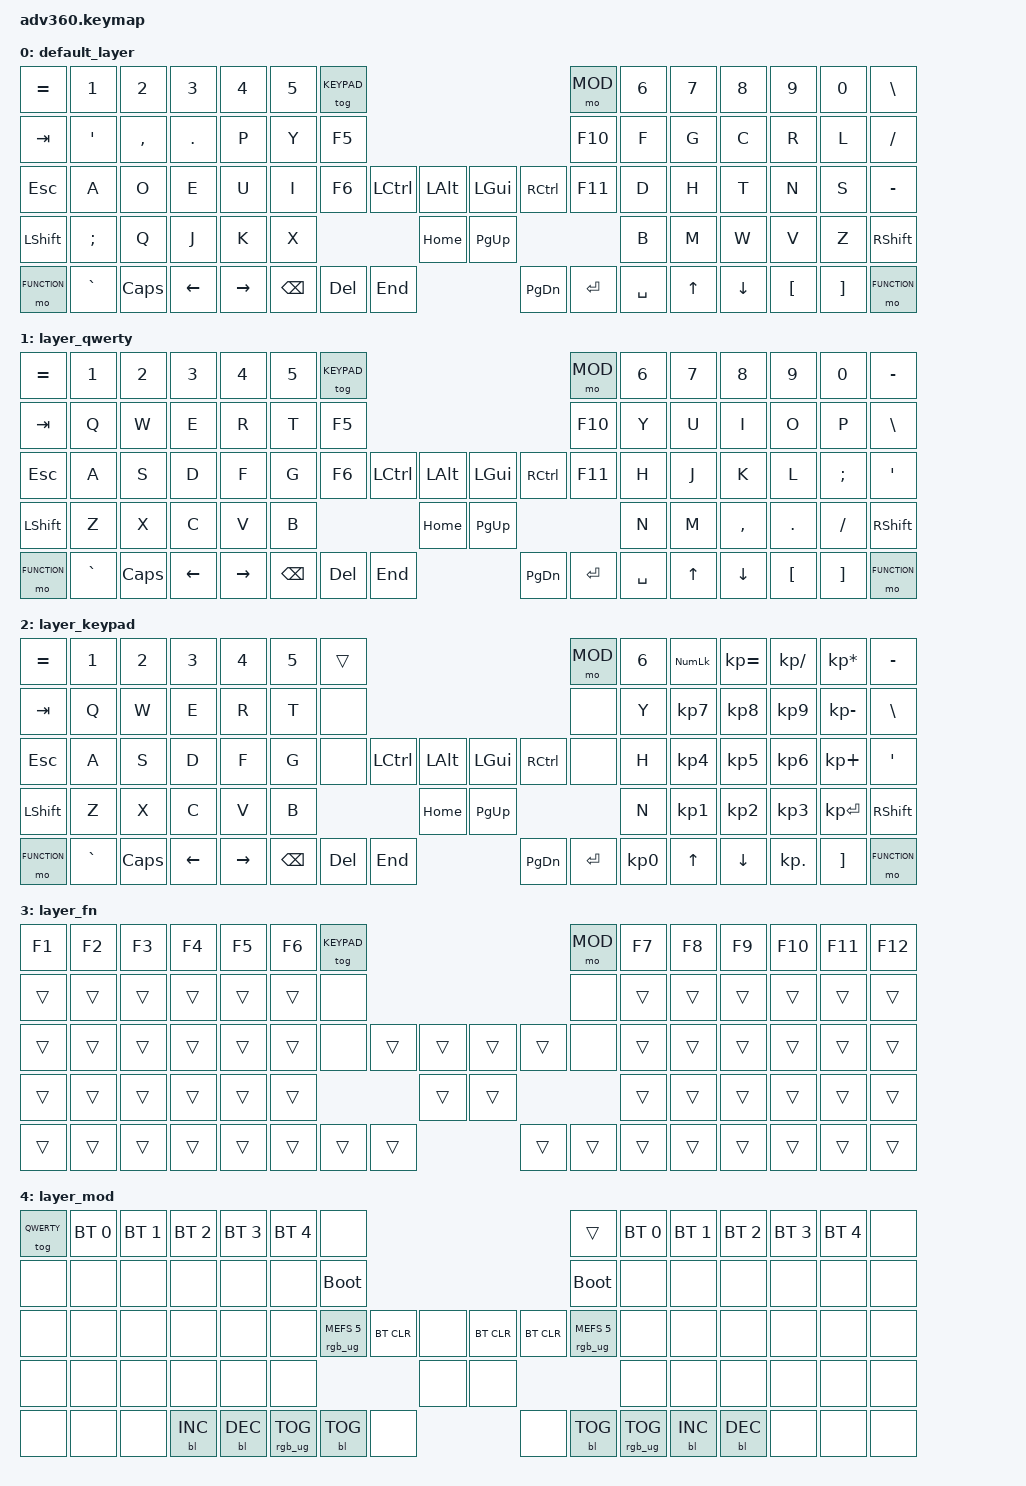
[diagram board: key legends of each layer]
#include <behaviors.dtsi>
#include <dt-bindings/zmk/keys.h>
#include <dt-bindings/zmk/bt.h>
#include <dt-bindings/zmk/rgb.h>
#include <dt-bindings/zmk/backlight.h>
#include <dt-bindings/zmk/stp.h>
#include <dt-bindings/zmk/pointing.h>

#define DEFAULT 0
#define QWERTY 1
#define KEYPAD 2
#define FUNCTION 3
#define MOD 4

/ {
    behaviors {
      #include "macros.dtsi"
      #include "version.dtsi"
      #ifndef VERSION_MACRO
      macro_ver: macro_ver {
        compatible = "zmk,behavior-macro";
        label = "macro_version";
        #binding-cells = <0>;
        bindings = <&kp RET>;
      };
      #endif

    hm: homerow_mods {
        compatible = "zmk,behavior-hold-tap";
        label = "HOMEROW_MODS";
        #binding-cells = <2>;
        tapping-term-ms = <200>;
        quick_tap_ms = <175>;
        flavor = "tap-preferred";
        bindings = <&kp>, <&kp>;
    };
    gpipe: grave_pipe {
        compatible = "zmk,behavior-mod-morph";
        label = "grave_pipe";
        #binding-cells = <0>;
        bindings = <&kp GRAVE>, <&kp PIPE>;
        mods = <(MOD_LGUI|MOD_LSFT|MOD_RGUI|MOD_RSFT)>;
    };
  };

     keymap {
        compatible = "zmk,keymap";

        default_layer {
            bindings = <
                &kp EQUAL       &kp N1              &kp N2          &kp N3          &kp N4          &kp N5          &tog KEYPAD                                                                                                                 &mo MOD                 &kp N6          &kp N7          &kp N8          &kp N9          &kp N0          &kp BSLH
                &kp TAB         &kp SINGLE_QUOTE    &kp COMMA       &kp PERIOD      &kp P           &kp Y           &kp F5                                                                                                                      &kp F10                 &kp F           &kp G           &kp C           &kp R           &kp L           &kp SLASH
                &kp ESC         &kp A               &kp O           &kp E           &kp U           &kp I           &kp F6                              &kp LCTRL       &kp LALT                    &kp LGUI    &kp RCTRL                       &kp F11                 &kp D           &kp H           &kp T           &kp N           &kp S           &kp MINUS
                &kp LSHFT       &kp SEMICOLON       &kp Q           &kp J           &kp K           &kp X                                                               &kp HOME                    &kp PG_UP                                                           &kp B           &kp M           &kp W           &kp V           &kp Z           &kp RSHFT
                &mo FUNCTION    &kp GRAVE           &kp CAPS        &kp LEFT        &kp RIGHT                                       &kp BSPC            &kp DEL         &kp END                     &kp PG_DN   &kp ENTER   &kp SPACE                                                   &kp UP          &kp DOWN        &kp LBKT        &kp RBKT        &mo FUNCTION
            >;
        };

        layer_qwerty {
            bindings = <
                &kp EQUAL       &kp N1              &kp N2          &kp N3          &kp N4          &kp N5          &tog KEYPAD                                                                                                                 &mo MOD                 &kp N6          &kp N7          &kp N8          &kp N9          &kp N0          &kp MINUS
                &kp TAB         &kp Q               &kp W           &kp E           &kp R           &kp T           &kp F5                                                                                                                      &kp F10                 &kp Y           &kp U           &kp I           &kp O           &kp P           &kp BSLH
                &kp ESC         &kp A               &kp S           &kp D           &kp F           &kp G           &kp F6                              &kp LCTRL       &kp LALT                    &kp LGUI    &kp RCTRL                       &kp F11                 &kp H           &kp J           &kp K           &kp L           &kp SEMI        &kp SQT
                &kp LSHFT       &kp Z               &kp X           &kp C           &kp V           &kp B                                                               &kp HOME                    &kp PG_UP                                                           &kp N           &kp M           &kp COMMA       &kp DOT         &kp FSLH        &kp RSHFT
                &mo FUNCTION    &kp GRAVE           &kp CAPS        &kp LEFT        &kp RIGHT                                       &kp BSPC            &kp DEL         &kp END                     &kp PG_DN   &kp ENTER   &kp SPACE                                                   &kp UP          &kp DOWN        &kp LBKT        &kp RBKT        &mo FUNCTION
            >;
        };

        layer_keypad {
            bindings = <
                &kp EQUAL       &kp N1              &kp N2          &kp N3          &kp N4          &kp N5          &trans                                                                                                                      &mo MOD                 &kp N6          &kp KP_NUM      &kp KP_EQUAL    &kp KP_DIVIDE   &kp KP_MULTIPLY &kp MINUS
                &kp TAB         &kp Q               &kp W           &kp E           &kp R           &kp T           &none                                                                                                                       &none                   &kp Y           &kp KP_N7       &kp KP_N8       &kp KP_N9       &kp KP_MINUS    &kp BSLH
                &kp ESC         &kp A               &kp S           &kp D           &kp F           &kp G           &none                               &kp LCTRL       &kp LALT                    &kp LGUI    &kp RCTRL                       &none                   &kp H           &kp KP_N4       &kp KP_N5       &kp KP_N6       &kp KP_PLUS     &kp SQT
                &kp LSHFT       &kp Z               &kp X           &kp C           &kp V           &kp B                                                               &kp HOME                    &kp PG_UP                                                           &kp N           &kp KP_N1       &kp KP_N2       &kp KP_N3       &kp KP_ENTER    &kp RSHFT
                &mo FUNCTION    &kp GRAVE           &kp CAPS        &kp LEFT        &kp RIGHT                                       &kp BSPC            &kp DEL         &kp END                     &kp PG_DN   &kp ENTER   &kp KP_N0                                                   &kp UP          &kp DOWN        &kp KP_DOT      &kp RBKT        &mo FUNCTION
            >;
        };

        layer_fn {
            bindings = <
                &kp F1          &kp F2              &kp F3          &kp F4          &kp F5          &kp F6          &tog KEYPAD                                                                                                                 &mo MOD                 &kp F7          &kp F8          &kp F9          &kp F10         &kp F11         &kp F12
                &trans          &trans              &trans          &trans          &trans          &trans          &none                                                                                                                       &none                   &trans          &trans          &trans          &trans          &trans          &trans
                &trans          &trans              &trans          &trans          &trans          &trans          &none                               &trans          &trans                      &trans      &trans                          &none                   &trans          &trans          &trans          &trans          &trans          &trans
                &trans          &trans              &trans          &trans          &trans          &trans                                                              &trans                      &trans                                                              &trans          &trans          &trans          &trans          &trans          &trans
                &trans          &trans              &trans          &trans          &trans                                          &trans              &trans          &trans                      &trans      &trans      &trans                                                      &trans          &trans          &trans          &trans          &trans
            >;
        };

        layer_mod {
            bindings = <
                &tog QWERTY     &bt BT_SEL 0        &bt BT_SEL 1    &bt BT_SEL 2    &bt BT_SEL 3    &bt BT_SEL 4    &none                                                                                                                       &trans                  &bt BT_SEL 0    &bt BT_SEL 1    &bt BT_SEL 2    &bt BT_SEL 3    &bt BT_SEL 4    &none
                &none           &none               &none           &none           &none           &none           &bootloader                                                                                                                 &bootloader             &none           &none           &none           &none           &none           &none
                &none           &none               &none           &none           &none           &none           &rgb_ug RGB_MEFS_CMD 5              &bt BT_CLR      &none                       &bt BT_CLR  &bt BT_CLR                      &rgb_ug RGB_MEFS_CMD 5  &none           &none           &none           &none           &none           &none
                &none           &none               &none           &none           &none           &none                                                               &none                       &none                                                               &none           &none           &none           &none           &none           &none
                &none           &none               &none           &bl BL_INC      &bl BL_DEC                                      &rgb_ug RGB_TOG     &bl BL_TOG      &none                       &none       &bl BL_TOG  &rgb_ug RGB_TOG                                             &bl BL_INC      &bl BL_DEC      &none           &none           &none
            >;
        };
    };
};
